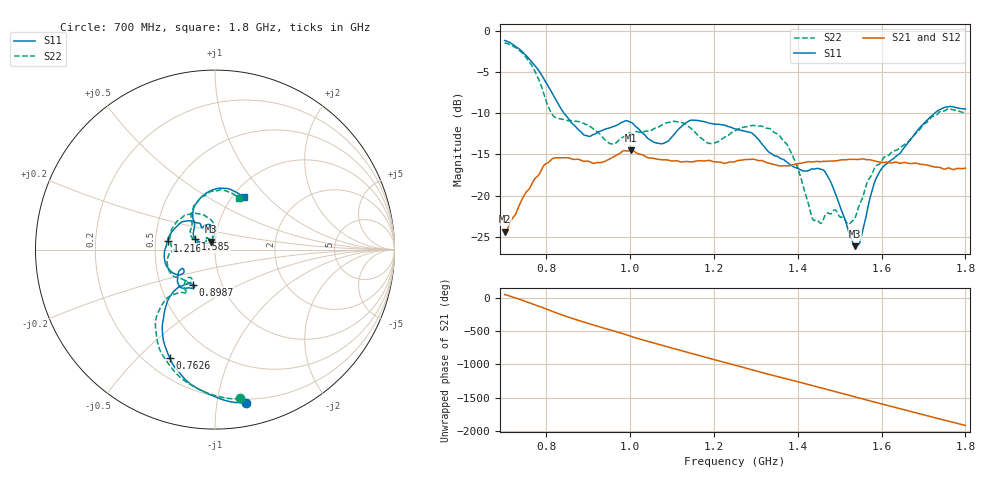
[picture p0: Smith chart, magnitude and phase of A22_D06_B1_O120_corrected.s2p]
! Created with skrf 1.9.0 (http://scikit-rf.org).
# Hz S RI R 50.0
!freq ReS11 ImS11 ReS21 ImS21 ReS12 ImS12 ReS22 ImS22
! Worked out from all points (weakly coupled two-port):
!   1601 points, 700 MHz to 1.8 GHz, reference 50 ohm
!   highest |S21| = -14.49 dB at 1.002 GHz (marker M1); lowest = -24.4 dB at 701.4 MHz (marker M2)
!   lowest |S11| = -26.1 dB at 1.537 GHz (marker M3), VSWR 1.10, Z = 47.7 + j4.25 ohm
!   |S11| at or under -10 dB: 841.7 MHz to 1.727 GHz (885 MHz wide, 68.9 % of centre)
!   |S22| runs from -23.5 to -1.5 dB; largest |S21 - S12| = 0.0035
!   S11 on the Smith chart (normalised r, x): 700 MHz: 0.17, -1.21; 762.6 MHz: 0.30, -0.63; 898.7 MHz: 0.73, -0.30; 1.216 GHz: 0.58, +0.06; 1.585 GHz: 0.80, +0.09; 1.8 GHz: 1.12, +0.74
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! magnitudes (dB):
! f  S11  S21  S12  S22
! 700 MHz  -1.2  -24.4  -24.2  -1.5
! 701.4 MHz  -1.2  -24.4  -24.0  -1.5
! 762.6 MHz  -3.7  -18.8  -18.8  -4.0
! 816.2 MHz  -7.8  -15.5  -15.6  -10.3
! 883.6 MHz  -12.3  -15.7  -15.6  -11.1
! 898.7 MHz  -12.8  -15.8  -15.9  -11.4
! 954.4 MHz  -11.7  -15.5  -15.5  -13.7
! 1.002 GHz  -11.1  -14.5  -14.6  -12.5
! 1.067 GHz  -13.6  -15.6  -15.5  -11.7
! 1.143 GHz  -10.9  -15.9  -15.9  -11.8
! 1.216 GHz  -11.4  -15.9  -15.9  -13.2
! 1.25 GHz  -11.9  -15.9  -15.8  -12.1
! 1.357 GHz  -15.4  -16.4  -16.3  -12.7
! 1.395 GHz  -16.6  -16.2  -16.2  -16.0
! 1.434 GHz  -16.8  -15.9  -15.9  -22.6
! 1.471 GHz  -17.7  -15.8  -15.8  -22.1
! 1.537 GHz  -26.1  -15.6  -15.6  -22.7
! 1.55 GHz  -25.3  -15.6  -15.6  -20.8
! 1.585 GHz  -18.1  -15.8  -15.8  -16.5
! 1.617 GHz  -15.9  -16.0  -15.9  -15.1
! 1.733 GHz  -9.7  -16.5  -16.6  -10.1
! 1.8 GHz  -9.5  -16.7  -16.7  -10.0
